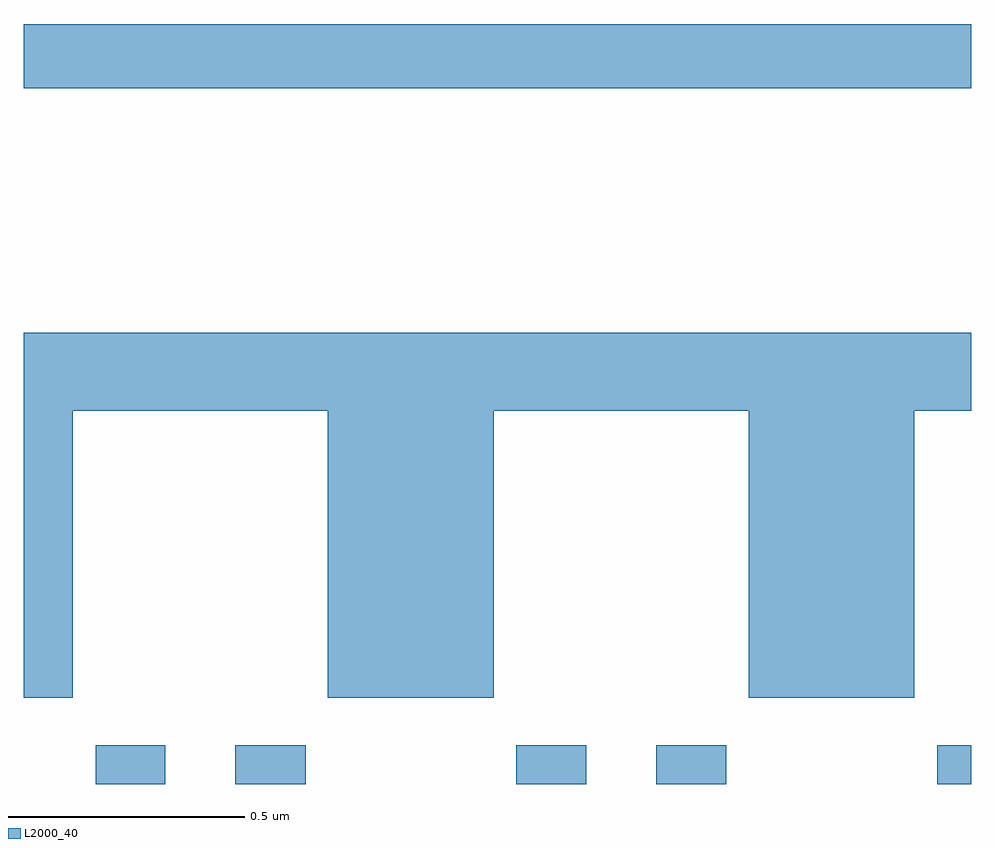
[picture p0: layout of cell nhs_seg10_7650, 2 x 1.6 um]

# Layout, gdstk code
import gdstk
lib = gdstk.Library(unit=1e-6, precision=1e-09)
def R(c, l, rs):  # rectangles x0, y0, x1, y1
    for r in rs: c.add(gdstk.rectangle(r[:2], r[2:], *l))
def P(c, l, *ps):  # polygons
    for p in ps: c.add(gdstk.Polygon(p, *l))
L2000_40 = (2000, 40)

nhs_seg10_7650 = lib.new_cell('nhs_seg10_7650')
R(nhs_seg10_7650, L2000_40, [(206.152,1327.5,206.299,1327.582), (206.447,1327.5,206.595,1327.582), (207.04,1327.5,207.187,1327.582), (207.335,1327.5,207.483,1327.582), (207.928,1327.5,208,1327.582), (206,1328.968,208,1329.104)])
P(nhs_seg10_7650, L2000_40, [(206.104,1328.288),(206.642,1328.288),(206.642,1327.682),(206.992,1327.682),(206.992,1328.288),(207.53,1328.288),(207.53,1327.682),(207.88,1327.682),(207.88,1328.288),(208,1328.288),(208,1328.452),(206,1328.452),(206,1327.682),(206.104,1327.682)])

lib.write_gds('nhs_seg10_7650.gds')
